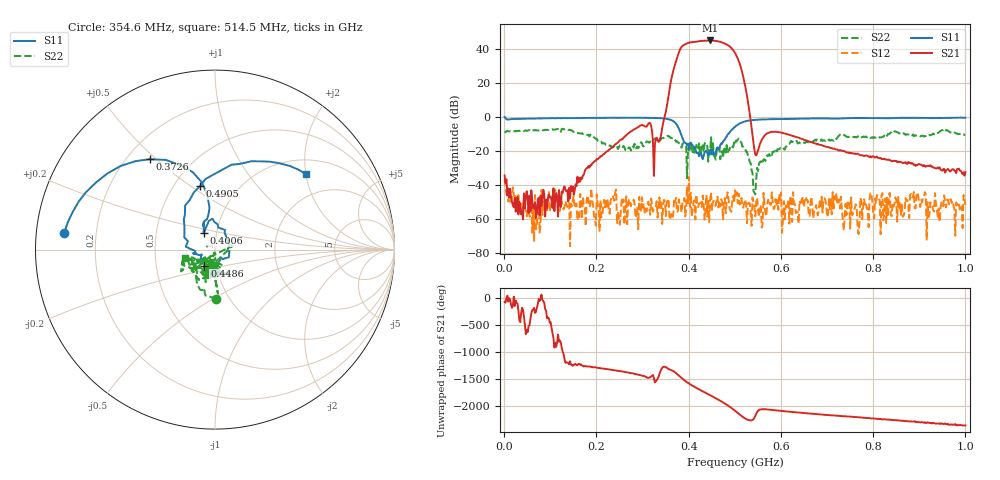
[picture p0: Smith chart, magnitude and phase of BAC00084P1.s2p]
!measured: 2026-10-27T15:08:03
!cal_instance: BBtestOct27
!cal_created: 2026-10-27T14:45
!cal_file: BBtesting.cal
!port1_delay_ps: -58.63
!port2_delay_ps: -59.31
!host: dhcp-10-250-247-203.harvard.edu
! Created with skrf 2.1.0 (http://scikit-rf.org).
# Hz S RI R 50.0
!freq ReS11 ImS11 ReS21 ImS21 ReS12 ImS12 ReS22 ImS22
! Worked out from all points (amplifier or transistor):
!   501 points, 1 MHz to 1 GHz, reference 50 ohm
!   highest |S21| = 44.8 dB at 446.6 MHz (marker M1)
!   |S21| within 3 dB of that: 387.6 MHz to 486.3 MHz (98.71 MHz wide, 22.6 % of centre)
!   unconditionally stable (mu >= 1): start of sweep to 396.2 MHz; 448.8 MHz to 484.2 MHz; 500.7 MHz to end of sweep (the widest 3 of 9)
!   at 166.8 MHz: K = 1656.70, MAG = -27.9 dB, |S12| = -50.4 dB
!   at 500.5 MHz: K = 0.93, MSG = 40.4 dB, |S12| = -43.3 dB
!   at 1 GHz: K = 1099.25, MAG = -23.8 dB, |S12| = -51.9 dB
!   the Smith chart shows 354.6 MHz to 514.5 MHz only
!   S11 on the Smith chart (normalised r, x): 354.6 MHz: 0.08, +0.05; 372.6 MHz: 0.29, +0.48; 400.6 MHz: 0.87, +0.16; 448.6 MHz: 0.87, -0.16; 490.5 MHz: 0.67, +0.55; 514.5 MHz: 1.35, +2.01
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1000000  -0.3056 0.9241  0.00682 -0.0172  -0.00645 -0.0132  0.369 -0.0295
1.68832e8  0.4886 -0.7661  -0.0143 -0.00399  -0.000751 0.000612  -0.0242 -0.3249
3.34666e8  -0.8234 -0.3746  0.1765 -0.0353  0.000869 -0.00204  0.0532 -0.1972
3.54646e8  -0.8408 0.0917  -2.217 1.878  0.00201 -0.00261  0.00705 -0.2738
3.72628e8  -0.3645 0.5036  23.35 35.54  0.00122 -0.00392  -0.1057 -0.1505
3.84616e8  -0.0375 0.2732  93.55 -62.19  0.00151 0.000164  -0.1105 -0.051
3.92608e8  -0.0591 0.1591  1.821 -134  0.00114 -0.000232  -0.1055 -0.1086
4.006e8  -0.0636 0.092  -106.5 -103  -0.0126 0.011  0.098 0.021
4.12588e8  0.0559 0.1096  -149.5 49.98  0.000518 -0.00341  -0.0306 -0.074
4.26574e8  0.0769 -0.0425  -19.99 166.1  0.00279 0.00111  -0.0242 -0.0946
4.36564e8  -0.0165 -0.0936  105 134.7  0.000932 -0.0016  -0.0679 -0.1603
4.46554e8  -0.0403 -0.0651  171.8 21.7  -0.0027 0.00232  -0.0138 -0.0791
4.48552e8  -0.0592 -0.0916  172 -4.291  0.00172 0.00579  0.0168 -0.2461
4.6054e8  -0.1102 -0.0242  90.61 -139.4  0.0034 0.000468  -0.0591 -0.0733
4.68532e8  -0.1444 0.00759  -15.6 -157.1  0.00136 0.00179  -0.0318 -0.0459
4.8052e8  -0.1737 0.1682  -126.2 -53.03  0.00139 -0.000403  -0.00625 -0.0877
4.9051e8  -0.0826 0.3546  -90.45 63.62  0.00077 -0.00156  -0.0695 -0.1208
5.005e8  0.1319 0.4763  12.82 73.16  -0.000668 -0.00677  -0.0997 -0.1135
5.14486e8  0.5085 0.4199  23.16 -6.843  0.00164 -0.00373  -0.1674 -0.0441
6.68332e8  0.0216 -0.8809  0.1574 0.068  -0.000915 -0.0016  0.0314 -0.1789
8.34166e8  -0.6189 -0.6474  0.00353 -0.0545  -0.00242 0.00455  -0.1902 -0.2369
1e9  -0.8966 -0.2287  -0.023 0.00467  0.00245 -0.000675  -0.2528 -0.1585
